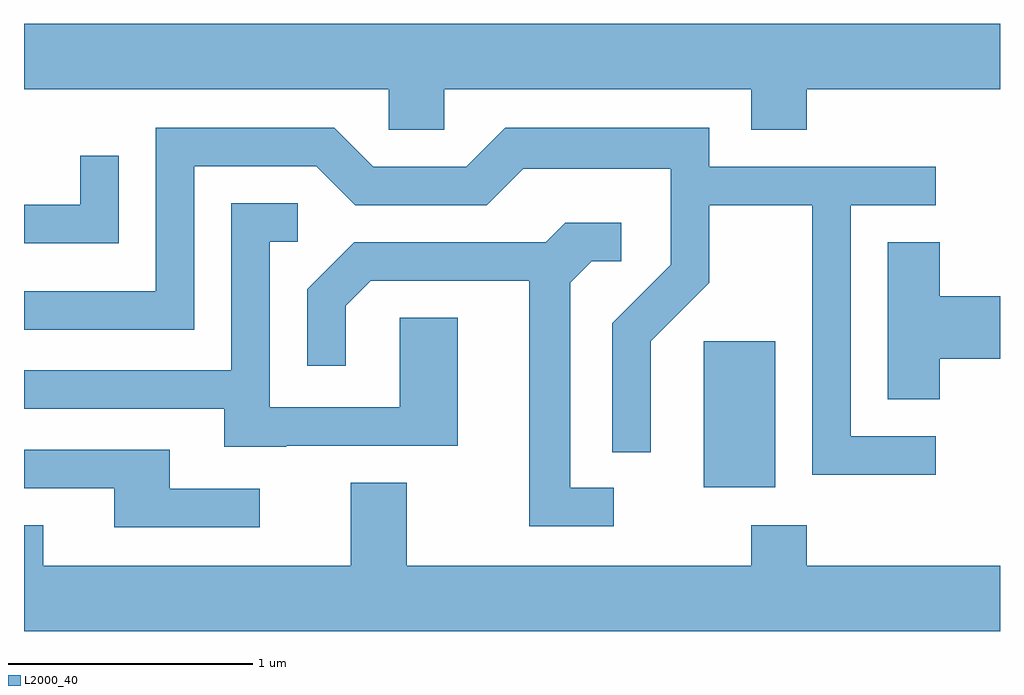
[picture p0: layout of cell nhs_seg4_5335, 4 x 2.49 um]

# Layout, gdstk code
import gdstk
lib = gdstk.Library(unit=1e-6, precision=1e-09)
def R(c, l, rs):  # rectangles x0, y0, x1, y1
    for r in rs: c.add(gdstk.rectangle(r[:2], r[2:], *l))
def P(c, l, *ps):  # polygons
    for p in ps: c.add(gdstk.Polygon(p, *l))
L2000_40 = (2000, 40)

nhs_seg4_5335 = lib.new_cell('nhs_seg4_5335')
R(nhs_seg4_5335, L2000_40, [(344.396,1317.526,344.689,1318.124)])
P(nhs_seg4_5335, L2000_40, [(343.334,1319.156),(344.591,1319.156),(344.591,1318.991),(344.819,1318.991),(344.819,1319.156),(345.611,1319.156),(345.611,1319.424),(341.611,1319.424),(341.611,1319.156),(343.106,1319.156),(343.106,1318.991),(343.334,1318.991)],
  [(345.348,1317.734),(344.999,1317.734),(344.999,1318.681),(345.348,1318.681),(345.348,1318.839),(344.419,1318.839),(344.419,1318.999),(343.584,1318.999),(343.424,1318.839),(343.042,1318.839),(342.882,1318.999),(342.151,1318.999),(342.151,1318.329),(341.611,1318.329),(341.611,1318.171),(342.309,1318.171),(342.309,1318.841),(342.809,1318.841),(342.969,1318.681),(343.507,1318.681),(343.657,1318.831),(344.261,1318.831),(344.261,1318.437),(344.021,1318.197),(344.021,1317.668),(344.179,1317.668),(344.179,1318.124),(344.419,1318.364),(344.419,1318.681),(344.841,1318.681),(344.841,1317.576),(345.348,1317.576)],
  [(341.999,1318.883),(341.841,1318.883),(341.841,1318.684),(341.611,1318.684),(341.611,1318.526),(341.999,1318.526)],
  [(342.685,1317.696),(343.389,1317.696),(343.389,1318.219),(343.151,1318.219),(343.151,1317.854),(342.619,1317.854),(342.619,1318.531),(342.733,1318.531),(342.733,1318.689),(342.461,1318.689),(342.461,1318.004),(341.611,1318.004),(341.611,1317.846),(342.431,1317.846),(342.431,1317.691),(342.685,1317.691)],
  [(344.028,1317.524),(343.849,1317.524),(343.849,1318.364),(343.937,1318.451),(344.058,1318.451),(344.058,1318.609),(343.829,1318.609),(343.749,1318.529),(342.964,1318.529),(342.771,1318.337),(342.771,1318.023),(342.929,1318.023),(342.929,1318.269),(343.032,1318.371),(343.681,1318.371),(343.681,1317.366),(344.028,1317.366)],
  [(345.364,1318.051),(345.611,1318.051),(345.611,1318.309),(345.364,1318.309),(345.364,1318.529),(345.151,1318.529),(345.151,1317.886),(345.364,1317.886)],
  [(342.578,1317.519),(342.209,1317.519),(342.209,1317.679),(341.611,1317.679),(341.611,1317.521),(341.981,1317.521),(341.981,1317.361),(342.578,1317.361)],
  [(345.611,1317.204),(344.819,1317.204),(344.819,1317.369),(344.591,1317.369),(344.591,1317.204),(343.179,1317.204),(343.179,1317.544),(342.951,1317.544),(342.951,1317.204),(341.689,1317.204),(341.689,1317.369),(341.611,1317.369),(341.611,1316.936),(345.611,1316.936)])

lib.write_gds('nhs_seg4_5335.gds')
